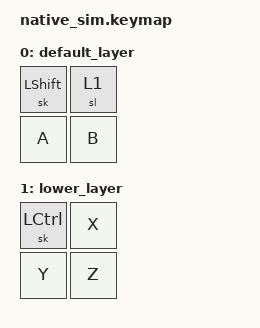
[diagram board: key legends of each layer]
#include <dt-bindings/zmk/keys.h>
#include <behaviors.dtsi>
#include <dt-bindings/zmk/kscan_mock.h>

&sk {
    quick-release;
};

/ {
    keymap {
        compatible = "zmk,keymap";

        default_layer {
            bindings = <&sk LEFT_SHIFT &sl 1
                        &kp A &kp B>;
        };

        lower_layer {
            bindings = <&sk LEFT_CONTROL &kp X
                        &kp Y &kp Z>;
        };
    };
};

&kscan {
    events = <
              /* tap sl lower_layer */
              ZMK_MOCK_PRESS(0,1,10)
              ZMK_MOCK_RELEASE(0,1,10)
              /* tap sk LEFT_CONTROL */
              ZMK_MOCK_PRESS(0,0,10)
              ZMK_MOCK_RELEASE(0,0,10)
              /* tap A */
              ZMK_MOCK_PRESS(1,0,10)
              ZMK_MOCK_RELEASE(1,0,10)
              /* tap B */
              ZMK_MOCK_PRESS(1,1,10)
              ZMK_MOCK_RELEASE(1,1,10)

              /* tap sk LEFT_SHIFT */
              ZMK_MOCK_PRESS(0,0,10)
              ZMK_MOCK_RELEASE(0,0,10)
              /* tap sl lower_layer */
              ZMK_MOCK_PRESS(0,1,10)
              ZMK_MOCK_RELEASE(0,1,10)
              /* tap Y */
              ZMK_MOCK_PRESS(1,0,10)
              ZMK_MOCK_RELEASE(1,0,10)
              /* tap B */
              ZMK_MOCK_PRESS(1,1,10)
              ZMK_MOCK_RELEASE(1,1,10)>;
};
